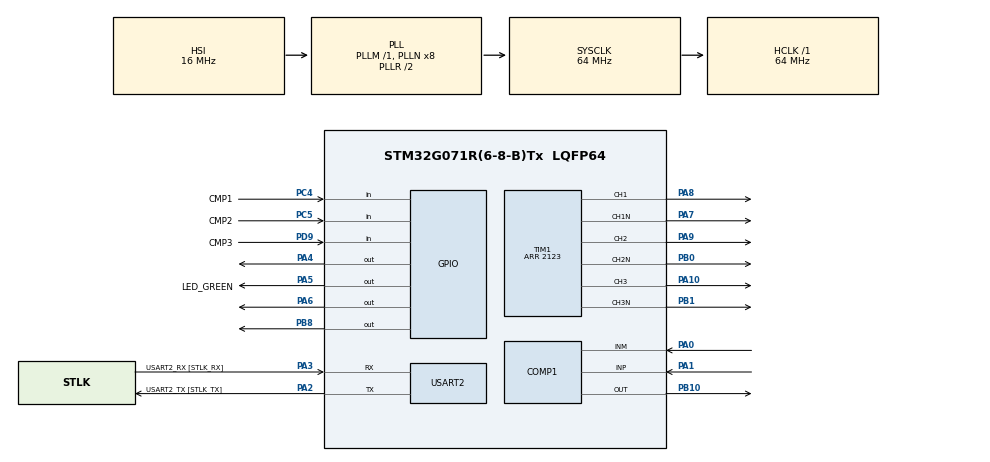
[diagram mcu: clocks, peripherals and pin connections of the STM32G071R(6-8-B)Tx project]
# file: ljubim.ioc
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COMP1.Hysteresis=COMP_HYSTERESIS_HIGH
Dma.Request0=USART2_RX
Dma.Request1=USART2_TX
Dma.USART2_RX.0.Direction=DMA_PERIPH_TO_MEMORY
Dma.USART2_RX.0.EventEnable=DISABLE
Dma.USART2_RX.0.Instance=DMA1_Channel1
Dma.USART2_RX.0.MemDataAlignment=DMA_MDATAALIGN_BYTE
Dma.USART2_RX.0.MemInc=DMA_MINC_ENABLE
Dma.USART2_RX.0.Mode=DMA_NORMAL
Dma.USART2_RX.0.PeriphDataAlignment=DMA_PDATAALIGN_BYTE
Dma.USART2_RX.0.PeriphInc=DMA_PINC_DISABLE
Dma.USART2_RX.0.Polarity=HAL_DMAMUX_REQ_GEN_RISING
Dma.USART2_RX.0.Priority=DMA_PRIORITY_LOW
Dma.USART2_RX.0.RequestNumber=1
Dma.USART2_RX.0.SignalID=NONE
Dma.USART2_RX.0.SyncEnable=DISABLE
Dma.USART2_RX.0.SyncPolarity=HAL_DMAMUX_SYNC_NO_EVENT
Dma.USART2_RX.0.SyncRequestNumber=1
Dma.USART2_RX.0.SyncSignalID=NONE
Dma.USART2_TX.1.Direction=DMA_MEMORY_TO_PERIPH
Dma.USART2_TX.1.EventEnable=DISABLE
Dma.USART2_TX.1.Instance=DMA1_Channel2
Dma.USART2_TX.1.MemDataAlignment=DMA_MDATAALIGN_BYTE
Dma.USART2_TX.1.MemInc=DMA_MINC_ENABLE
Dma.USART2_TX.1.Mode=DMA_NORMAL
Dma.USART2_TX.1.PeriphDataAlignment=DMA_PDATAALIGN_BYTE
Dma.USART2_TX.1.PeriphInc=DMA_PINC_DISABLE
Dma.USART2_TX.1.Polarity=HAL_DMAMUX_REQ_GEN_RISING
Dma.USART2_TX.1.Priority=DMA_PRIORITY_LOW
Dma.USART2_TX.1.RequestNumber=1
Dma.USART2_TX.1.SignalID=NONE
Dma.USART2_TX.1.SyncEnable=DISABLE
Dma.USART2_TX.1.SyncPolarity=HAL_DMAMUX_SYNC_NO_EVENT
Dma.USART2_TX.1.SyncRequestNumber=1
Dma.USART2_TX.1.SyncSignalID=NONE
Mcu.Family=STM32G0
Mcu.Name=STM32G071R(6-8-B)Tx
Mcu.Package=LQFP64
Mcu.UserConstants=ALIGN_TIMEOUT_US,196608
NVIC.DMA1_Channel1_IRQn=true\:0\:0\:false\:false\:true\:false\:true\:true
NVIC.DMA1_Channel2_3_IRQn=true\:0\:0\:false\:false\:true\:false\:true\:true
NVIC.TIM15_IRQn=true\:0\:0\:false\:false\:true\:true\:true\:true
NVIC.TIM17_IRQn=true\:0\:0\:false\:false\:true\:true\:true\:true
NVIC.TIM1_BRK_UP_TRG_COM_IRQn=true\:0\:0\:false\:false\:true\:true\:true\:true
NVIC.TIM1_CC_IRQn=true\:0\:0\:false\:false\:true\:true\:true\:true
NVIC.TIM3_IRQn=true\:0\:0\:false\:false\:true\:true\:true\:true
NVIC.USART2_IRQn=true\:0\:0\:false\:false\:true\:true\:true\:true
PA0.Mode=INM
PA0.Signal=COMP1_INM
PA1.Mode=INP
PA1.Signal=COMP1_INP
PA10.Signal=S_TIM1_CH3
PA13.GPIO_Label=TMS
PA13.Mode=Serial_Wire
PA13.Signal=SYS_SWDIO
PA14-BOOT0.GPIO_Label=TCK
PA14-BOOT0.Mode=Serial_Wire
PA14-BOOT0.Signal=SYS_SWCLK
PA2.GPIO_Label=USART2_TX [STLK_TX]
PA2.GPIO_PuPd=GPIO_PULLUP
PA2.Mode=Asynchronous
PA2.Signal=USART2_TX
PA3.GPIO_Label=USART2_RX [STLK_RX]
PA3.GPIO_PuPd=GPIO_PULLUP
PA3.Mode=Asynchronous
PA3.Signal=USART2_RX
PA4.Signal=GPIO_Output
PA5.GPIO_Label=LED_GREEN
PA5.GPIO_Speed=GPIO_SPEED_FREQ_HIGH
PA5.Signal=GPIO_Output
PA6.Signal=GPIO_Output
PA7.Mode=PWM Generation1 CH1 CH1N
PA7.Signal=TIM1_CH1N
PA8.Signal=S_TIM1_CH1
PA9.Signal=S_TIM1_CH2
PB0.Mode=PWM Generation2 CH2 CH2N
PB0.Signal=TIM1_CH2N
PB1.Mode=PWM Generation3 CH3 CH3N
PB1.Signal=TIM1_CH3N
PB10.Mode=ExternalOutput
PB10.Signal=COMP1_OUT
PB8.Signal=GPIO_Output
PC13.Mode=SYS_WakeUp1
PC13.Signal=SYS_WKUP2
PC14-OSC32_IN\ (PC14).Mode=LSE-External-Oscillator
PC14-OSC32_IN\ (PC14).Signal=RCC_OSC32_IN
PC15-OSC32_OUT\ (PC15).Mode=LSE-External-Oscillator
PC15-OSC32_OUT\ (PC15).Signal=RCC_OSC32_OUT
PC4.GPIO_Label=CMP1
PC4.Signal=GPIO_Input
PC5.GPIO_Label=CMP2
PC5.Signal=GPIO_Input
PD9.GPIO_Label=CMP3
PD9.Signal=GPIO_Input
PF0-OSC_IN\ (PF0).GPIO_Label=MCO
PF0-OSC_IN\ (PF0).Mode=HSE-External-Clock-Source
PF0-OSC_IN\ (PF0).Signal=RCC_OSC_IN
ProjectManager.HeapSize=0x200
ProjectManager.StackSize=0x400
ProjectManager.TargetToolchain=Makefile
RCC.ADCFreq_Value=64000000
RCC.AHBFreq_Value=64000000
RCC.CortexFreq_Value=64000000
RCC.EXTERNAL_CLOCK_VALUE=12288000
RCC.HCLKFreq_Value=64000000
RCC.HSE_VALUE=8000000
RCC.HSI_VALUE=16000000
RCC.PLLQ=RCC_PLLQ_DIV4
RCC.SYSCLKFreq_VALUE=64000000
RCC.SYSCLKSource=RCC_SYSCLKSOURCE_PLLCLK
RCC.VCOOutputFreq_Value=128000000
SH.S_TIM1_CH1.0=TIM1_CH1,PWM Generation1 CH1 CH1N
SH.S_TIM1_CH2.0=TIM1_CH2,PWM Generation2 CH2 CH2N
SH.S_TIM1_CH3.0=TIM1_CH3,PWM Generation3 CH3 CH3N
TIM1.Channel-PWM\ Generation1\ CH1\ CH1N=TIM_CHANNEL_1
TIM1.Channel-PWM\ Generation2\ CH2\ CH2N=TIM_CHANNEL_2
TIM1.Channel-PWM\ Generation3\ CH3\ CH3N=TIM_CHANNEL_3
TIM1.CounterMode=TIM_COUNTERMODE_UP
TIM1.DeadTime=50
TIM1.OCIdleState_1=TIM_OCIDLESTATE_RESET
TIM1.OCMode_PWM-PWM\ Generation1\ CH1\ CH1N=TIM_OCMODE_PWM1
TIM1.OCMode_PWM-PWM\ Generation2\ CH2\ CH2N=TIM_OCMODE_PWM1
TIM1.OCMode_PWM-PWM\ Generation3\ CH3\ CH3N=TIM_OCMODE_PWM1
TIM1.OCNIdleState_1=TIM_OCNIDLESTATE_SET
TIM1.OCNIdleState_2=TIM_OCNIDLESTATE_SET
TIM1.OCNIdleState_3=TIM_OCNIDLESTATE_SET
TIM1.OffStateRunMode=TIM_OSSR_ENABLE
TIM1.Period=2123
TIM1.Pulse-PWM\ Generation1\ CH1\ CH1N=1600
TIM1.Pulse-PWM\ Generation2\ CH2\ CH2N=1600
TIM1.Pulse-PWM\ Generation3\ CH3\ CH3N=1600
TIM15.Period=1300
TIM15.Prescaler=0
TIM17.Period=1999
TIM17.Prescaler=79
TIM3.AutoReloadPreload=TIM_AUTORELOAD_PRELOAD_DISABLE
TIM3.Prescaler=255
USART2.VirtualMode-Asynchronous=VM_ASYNC
VP_TIM15_VS_ClockSourceINT.Mode=Internal
VP_TIM15_VS_OPM.Mode=OPM_bit
VP_TIM17_VS_ClockSourceINT.Mode=Enable_Timer
VP_TIM1_VS_ClockSourceINT.Mode=Internal
VP_TIM3_VS_ClockSourceINT.Mode=Internal
board=NUCLEO-G071RB

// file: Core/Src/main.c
/* USER CODE BEGIN Header */
/**
 ******************************************************************************
 * @file           : main.c
 * @brief          : Main program body
 ******************************************************************************
 * @attention
 *
 * Copyright (c) 2025 STMicroelectronics.
 * All rights reserved.
 *
 * This software is licensed under terms that can be found in the LICENSE file
 * in the root directory of this software component.
 * If no LICENSE file comes with this software, it is provided AS-IS.
 *
 ******************************************************************************
 */
/* USER CODE END Header */
#include "main.h"
#include "comp.h"
#include "dma.h"
#include "tim.h"
#include "usart.h"
#include "gpio.h"

/* USER CODE BEGIN Includes */
#include "motor_control.h"
#include <stdint.h>
#include <stdio.h>
/* USER CODE END Includes */

/* USER CODE BEGIN PV */
extern uint32_t open_loop_period_us;
extern volatile motor_step_t current_motor_step;
extern volatile uint8_t go;
extern volatile uint8_t running;
extern volatile bemf_case_t state;
extern volatile ctx_t context;
extern volatile uint8_t enable_bemf;
extern volatile uint8_t scan;

extern volatile uint16_t target_speed;
uint8_t rx_buf[2];
uint8_t tx_buf[2];
/* USER CODE END PV */

void SystemClock_Config(void);
/* USER CODE BEGIN PFP */
void handle_zero_crossing(TIM_HandleTypeDef *htim);
void handle_undershoot(TIM_HandleTypeDef *htim);
extern void motor_control_task(/*void *argument*/);
/* USER CODE END PFP */

/* USER CODE BEGIN 0 */
extern TIM_HandleTypeDef htim3;
extern volatile GPIO_PinState cmp1, cmp2, cmp3;
volatile GPIO_PinState old_cmp1, old_cmp2, old_cmp3;
volatile uint8_t safeguard = 0;
volatile uint32_t zc_cnt = 0;
volatile uint8_t zc_flag = 0;
volatile uint8_t undershoot_flag = 0;
volatile uint8_t commutate_flag = 0;
volatile uint8_t PI_flag = 0;
volatile uint8_t pwm_cnt = 0;

int _write(int file, char *ptr, int len) {
  (void)file;
  HAL_UART_Transmit(&huart2, (uint8_t *)ptr, len, HAL_MAX_DELAY);
  return len;
}
/* USER CODE END 0 */

int main(void)
{

  /* MCU Configuration--------------------------------------------------------*/

  /* Reset of all peripherals, Initializes the Flash interface and the Systick. */
  HAL_Init();

  /* Configure the system clock */
  SystemClock_Config();

  /* Initialize all configured peripherals */
  MX_GPIO_Init();
  MX_DMA_Init();
  MX_TIM1_Init();
  MX_USART2_UART_Init();
  MX_TIM3_Init();
  MX_COMP1_Init();
  MX_TIM17_Init();
  MX_TIM15_Init();

  /* Init scheduler */
  // osKernelInitialize();
  //
  // /* Call init function for freertos objects (in cmsis_os2.c) */
  // MX_FREERTOS_Init();
  //
  // /* Start scheduler */
  // osKernelStart();

  /* We should never get here as control is now taken by the scheduler */
motor_control_task();
  /* Infinite loop */
  while (1) {

    /* USER CODE BEGIN 3 */
  }
  //
  /* USER CODE END 3 */
}

void SystemClock_Config(void)
{
  RCC_OscInitTypeDef RCC_OscInitStruct = {0};
  RCC_ClkInitTypeDef RCC_ClkInitStruct = {0};

  /** Configure the main internal regulator output voltage
  */
  HAL_PWREx_ControlVoltageScaling(PWR_REGULATOR_VOLTAGE_SCALE1);

  /** Initializes the RCC Oscillators according to the specified parameters
  * in the RCC_OscInitTypeDef structure.
  */
  RCC_OscInitStruct.OscillatorType = RCC_OSCILLATORTYPE_HSI;
  RCC_OscInitStruct.HSIState = RCC_HSI_ON;
  RCC_OscInitStruct.HSIDiv = RCC_HSI_DIV1;
  RCC_OscInitStruct.HSICalibrationValue = RCC_HSICALIBRATION_DEFAULT;
  RCC_OscInitStruct.PLL.PLLState = RCC_PLL_ON;
  RCC_OscInitStruct.PLL.PLLSource = RCC_PLLSOURCE_HSI;
  RCC_OscInitStruct.PLL.PLLM = RCC_PLLM_DIV1;
  RCC_OscInitStruct.PLL.PLLN = 8;
  RCC_OscInitStruct.PLL.PLLP = RCC_PLLP_DIV2;
  RCC_OscInitStruct.PLL.PLLQ = RCC_PLLQ_DIV4;
  RCC_OscInitStruct.PLL.PLLR = RCC_PLLR_DIV2;
  if (HAL_RCC_OscConfig(&RCC_OscInitStruct) != HAL_OK)
  {
    Error_Handler();
  }

  /** Initializes the CPU, AHB and APB buses clocks
  */
  RCC_ClkInitStruct.ClockType = RCC_CLOCKTYPE_HCLK|RCC_CLOCKTYPE_SYSCLK
                              |RCC_CLOCKTYPE_PCLK1;
  RCC_ClkInitStruct.SYSCLKSource = RCC_SYSCLKSOURCE_PLLCLK;
  RCC_ClkInitStruct.AHBCLKDivider = RCC_SYSCLK_DIV1;
  RCC_ClkInitStruct.APB1CLKDivider = RCC_HCLK_DIV1;

  if (HAL_RCC_ClockConfig(&RCC_ClkInitStruct, FLASH_LATENCY_2) != HAL_OK)
  {
    Error_Handler();
  }
}

/* USER CODE BEGIN 4 */
void handle_zero_crossing(TIM_HandleTypeDef *htim) {

  context.last_elapsed_cnt_at_bemf = context.elapsed_cnt_at_bemf;
  context.elapsed_cnt_at_bemf = __HAL_TIM_GET_COUNTER(htim) - 133; // 30khz
  context.current_period = __HAL_TIM_GET_AUTORELOAD(htim);

  if ((context.elapsed_cnt_at_bemf > (context.current_period >> 3)) &&
      (context.elapsed_cnt_at_bemf <
       (context.current_period - (context.current_period >> 4)))) {
    safeguard = 1;
    // state = BEMF_VALID;
    zc_flag = 1;
    if (zc_cnt < 10000)
      zc_cnt++;
  }
}
void handle_undershoot(TIM_HandleTypeDef *htim) {

  context.last_elapsed_cnt_at_bemf = context.elapsed_cnt_at_bemf;
  context.last_period = context.current_period;
  context.elapsed_cnt_at_bemf = __HAL_TIM_GET_AUTORELOAD(htim) >> 3;
  context.current_period = __HAL_TIM_GET_AUTORELOAD(htim);

  safeguard = 1;
  // state = BEMF_UNDERSHOOT;
  undershoot_flag = 1;
}
void HAL_UART_RxCpltCallback(UART_HandleTypeDef *huart) {
  if (huart->Instance == USART2) {
    // combine 2 bytes into 16-bit integer
    target_speed = (rx_buf[1] << 8) | rx_buf[0];

    // restart DMA reception
    HAL_UART_Receive_DMA(&huart2, rx_buf, 2);
  }
}
/* USER CODE END 4 */

void HAL_TIM_PeriodElapsedCallback(TIM_HandleTypeDef *htim)
{
  /* USER CODE BEGIN Callback 0 */
  if (htim->Instance == TIM1) {
    HAL_TIM_Base_Stop_IT(&htim15);

    __HAL_TIM_SET_COUNTER(&htim15, 0);

    htim15.Instance->CR1 |= TIM_CR1_OPM; // One Pulse Mode

    HAL_TIM_Base_Start_IT(&htim15);
  }
  if (htim->Instance == TIM17) {

    PI_flag = 1;
  }
  if (htim->Instance == TIM15 && enable_bemf) {
    switch (current_motor_step) {
    case MOTOR_STEP_1: // A->B, C is floating ---> down

      cmp3 = -1;
      old_cmp1 = cmp1;
      cmp1 = HAL_GPIO_ReadPin(CMP1_GPIO_Port, CMP1_Pin);
      /*UNDERSHOOT*/
      if (__HAL_TIM_GET_COUNTER(&htim3) >
              (__HAL_TIM_GET_AUTORELOAD(&htim3) >> 3) &&
          running && pwm_cnt == 0) {
        if (cmp1 == GPIO_PIN_SET && safeguard == 0) {
          handle_undershoot(&htim3);
        }
        pwm_cnt = 1;
      }

      if (cmp1 == GPIO_PIN_SET && old_cmp1 == GPIO_PIN_RESET &&
          safeguard == 0) {
        handle_zero_crossing(&htim3);
      }
      break;

    case MOTOR_STEP_2: // A->C, B is floating ----> up
      cmp1 = -1;
      old_cmp2 = cmp2;
      cmp2 = HAL_GPIO_ReadPin(CMP2_GPIO_Port, CMP2_Pin);
      if (__HAL_TIM_GET_COUNTER(&htim3) >
              (__HAL_TIM_GET_AUTORELOAD(&htim3) >> 3) &&
          running && pwm_cnt == 0) {
        if (cmp2 == GPIO_PIN_RESET && safeguard == 0) {
          handle_undershoot(&htim3);
        }
        pwm_cnt = 1;
      }
      if (cmp2 == GPIO_PIN_RESET && old_cmp2 == GPIO_PIN_SET &&
          safeguard == 0) {
        handle_zero_crossing(&htim3);
      }
      break;

    case MOTOR_STEP_3: // B->C, A is floating -----> down
      cmp2 = -1;
      old_cmp3 = cmp3;
      cmp3 = HAL_GPIO_ReadPin(CMP3_GPIO_Port, CMP3_Pin);
      /*UNDERSHOOT*/
      if (__HAL_TIM_GET_COUNTER(&htim3) >
              (__HAL_TIM_GET_AUTORELOAD(&htim3) >> 3) &&
          running && pwm_cnt == 0) {
        if (cmp3 == GPIO_PIN_SET && safeguard == 0) {
          handle_undershoot(&htim3);
        }
        pwm_cnt = 1;
      }
      if (cmp3 == GPIO_PIN_SET && old_cmp3 == GPIO_PIN_RESET &&
          safeguard == 0) {
        handle_zero_crossing(&htim3);
      }
      break;

    case MOTOR_STEP_4: // B->A, C is floating ----> up
      cmp3 = -1;
      old_cmp1 = cmp1;
      cmp1 = HAL_GPIO_ReadPin(CMP1_GPIO_Port, CMP1_Pin);
      if (__HAL_TIM_GET_COUNTER(&htim3) >
              (__HAL_TIM_GET_AUTORELOAD(&htim3) >> 3) &&
          running && pwm_cnt == 0) {
        if (cmp1 == GPIO_PIN_RESET && safeguard == 0) {
          handle_undershoot(&htim3);
        }
        pwm_cnt = 1;
      }
      if (cmp1 == GPIO_PIN_RESET && old_cmp1 == GPIO_PIN_SET &&
          safeguard == 0) {
        handle_zero_crossing(&htim3);
      }
      break;

    case MOTOR_STEP_5: // C->A, B is floating -----> down
      cmp1 = -1;
      old_cmp2 = cmp2;
      cmp2 = HAL_GPIO_ReadPin(CMP2_GPIO_Port, CMP2_Pin);
      /*UNDERSHOOT*/
      if (__HAL_TIM_GET_COUNTER(&htim3) >
              (__HAL_TIM_GET_AUTORELOAD(&htim3) >> 3) &&
          running && pwm_cnt == 0) {
        if (cmp2 == GPIO_PIN_SET && safeguard == 0) {
          handle_undershoot(&htim3);
        }
        pwm_cnt = 1;
      }
      if (cmp2 == GPIO_PIN_SET && old_cmp2 == GPIO_PIN_RESET &&
          safeguard == 0) {
        handle_zero_crossing(&htim3);
      }
      break;

    case MOTOR_STEP_6: // C->B, A is floating ----> up
      cmp2 = -1;
      old_cmp3 = cmp3;
      cmp3 = HAL_GPIO_ReadPin(CMP3_GPIO_Port, CMP3_Pin);
      /*UNDERSHOOT*/
      if (__HAL_TIM_GET_COUNTER(&htim3) >
              (__HAL_TIM_GET_AUTORELOAD(&htim3) >> 3) &&
          running && pwm_cnt == 0) {
        if (cmp3 == GPIO_PIN_RESET && safeguard == 0) {
          handle_undershoot(&htim3);
        }
        pwm_cnt = 1;
      }
      if (cmp3 == GPIO_PIN_RESET && old_cmp3 == GPIO_PIN_SET &&
          safeguard == 0) {
        handle_zero_crossing(&htim3);
      }
      break;

    case MOTOR_STOP:
    default:
      break;
    }
  }

  /* USER CODE END Callback 0 */
  if (htim->Instance == TIM16)
  {
    HAL_IncTick();
  }
  /* USER CODE BEGIN Callback 1 */
  if (htim->Instance == TIM3) {
    commutate_flag = 1;
  }

  /* USER CODE END Callback 1 */
}

void Error_Handler(void)
{
  __disable_irq();
  while (1) {
  }
}

#ifdef  USE_FULL_ASSERT
/**
  * @brief  Reports the name of the source file and the source line number
  *         where the assert_param error has occurred.
  * @param  file: pointer to the source file name
  * @param  line: assert_param error line source number
  * @retval None
  */
void assert_failed(uint8_t *file, uint32_t line)
{
  /* USER CODE BEGIN 6 */
  /* User can add his own implementation to report the file name and line
     number, ex: printf("Wrong parameters value: file %s on line %d\r\n", file,
     line) */
  /* USER CODE END 6 */
}
#endif /* USE_FULL_ASSERT */
